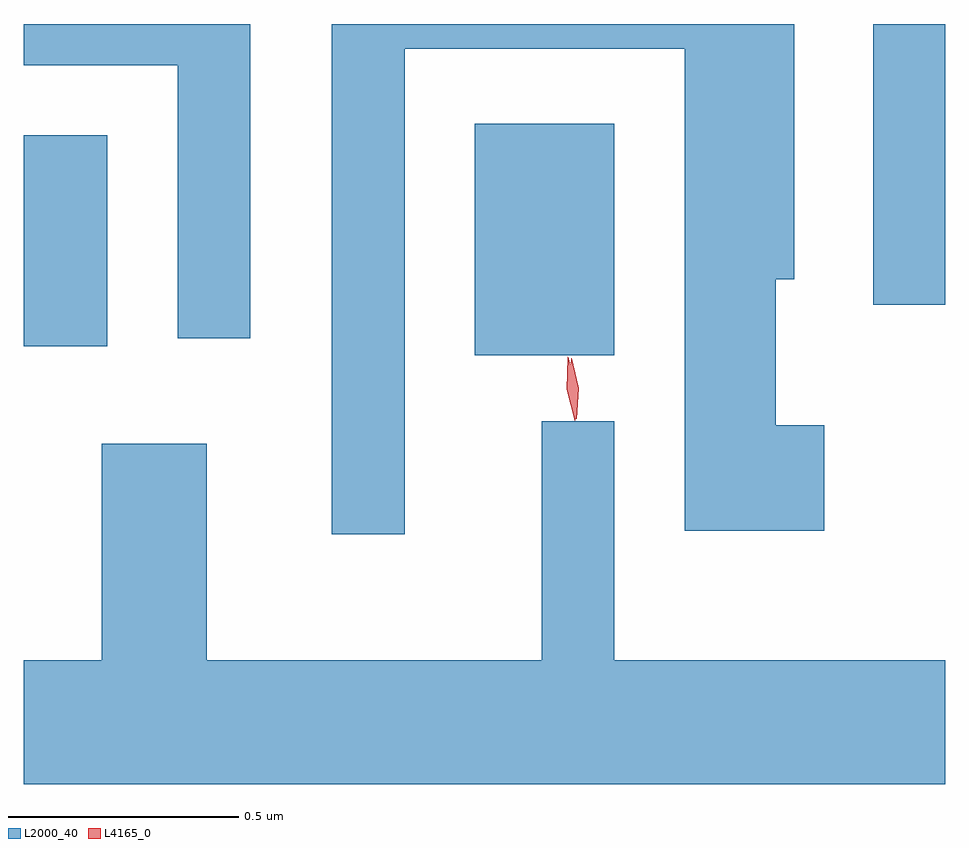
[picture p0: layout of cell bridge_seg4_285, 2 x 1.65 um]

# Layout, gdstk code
import gdstk
lib = gdstk.Library(unit=1e-6, precision=1e-09)
def R(c, l, rs):  # rectangles x0, y0, x1, y1
    for r in rs: c.add(gdstk.rectangle(r[:2], r[2:], *l))
def P(c, l, *ps):  # polygons
    for p in ps: c.add(gdstk.Polygon(p, *l))
L2000_40 = (2000, 40)
L4165_0 = (4165, 0)

bridge_seg4_285 = lib.new_cell('bridge_seg4_285')
R(bridge_seg4_285, L2000_40, [(513.061,1340.066,513.364,1340.569), (512.082,1340.086,512.264,1340.544), (513.926,1340.176,514.082,1340.785)])
P(bridge_seg4_285, L2000_40, [(512.909,1340.731),(513.516,1340.731),(513.516,1339.686),(513.819,1339.686),(513.819,1339.914),(513.714,1339.914),(513.714,1340.231),(513.754,1340.231),(513.754,1340.785),(512.751,1340.785),(512.751,1339.678),(512.909,1339.678)],
  [(512.574,1340.785),(512.082,1340.785),(512.082,1340.696),(512.416,1340.696),(512.416,1340.103),(512.574,1340.103)],
  [(514.082,1339.404),(513.364,1339.404),(513.364,1339.923),(513.206,1339.923),(513.206,1339.404),(512.479,1339.404),(512.479,1339.874),(512.251,1339.874),(512.251,1339.404),(512.082,1339.404),(512.082,1339.136),(514.082,1339.136)])
P(bridge_seg4_285, L4165_0, [(513.28,1339.928),(513.266,1339.993),(513.27,1340.06),(513.271,1340.06),(513.271,1340.06),(513.286,1339.995),(513.282,1339.928),(513.281,1339.928)],
  [(513.278,1339.924),(513.278,1339.925),(513.261,1339.992),(513.263,1340.062),(513.263,1340.063),(513.264,1340.062),(513.281,1339.995),(513.279,1339.925)])

lib.write_gds('bridge_seg4_285.gds')
